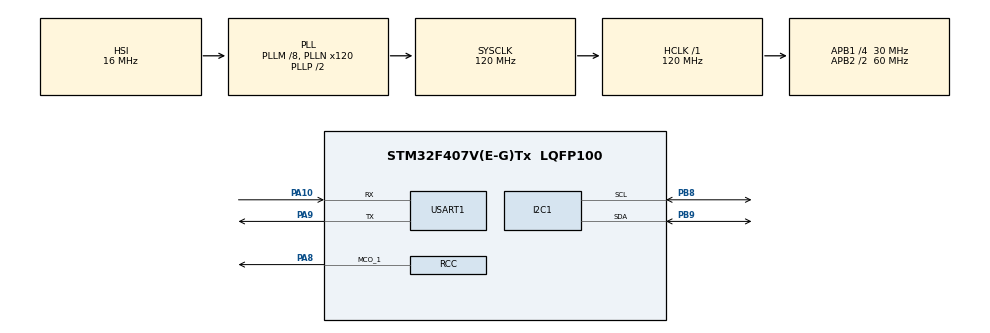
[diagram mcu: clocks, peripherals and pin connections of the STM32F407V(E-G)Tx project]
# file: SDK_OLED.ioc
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I2C1.I2C_Mode=I2C_Fast
Mcu.Family=STM32F4
Mcu.Name=STM32F407V(E-G)Tx
Mcu.Package=LQFP100
NVIC.PriorityGroup=NVIC_PRIORITYGROUP_4
PA10.Mode=Asynchronous
PA10.Signal=USART1_RX
PA13.Mode=JTAG_5_pins
PA13.Signal=SYS_JTMS-SWDIO
PA14.Mode=JTAG_5_pins
PA14.Signal=SYS_JTCK-SWCLK
PA15.Mode=JTAG_5_pins
PA15.Signal=SYS_JTDI
PA8.Mode=Clock-out-1
PA8.Signal=RCC_MCO_1
PA9.Mode=Asynchronous
PA9.Signal=USART1_TX
PB3.Mode=JTAG_5_pins
PB3.Signal=SYS_JTDO-SWO
PB4.Mode=JTAG_5_pins
PB4.Signal=SYS_JTRST
PB8.Mode=I2C
PB8.Signal=I2C1_SCL
PB9.Mode=I2C
PB9.Signal=I2C1_SDA
PH0-OSC_IN.Mode=HSE-External-Oscillator
PH0-OSC_IN.Signal=RCC_OSC_IN
PH1-OSC_OUT.Mode=HSE-External-Oscillator
PH1-OSC_OUT.Signal=RCC_OSC_OUT
ProjectManager.HeapSize=0x200
ProjectManager.StackSize=0x400
ProjectManager.TargetToolchain=STM32CubeIDE
RCC.48MHZClocksFreq_Value=60000000
RCC.AHBFreq_Value=120000000
RCC.APB1CLKDivider=RCC_HCLK_DIV4
RCC.APB1Freq_Value=30000000
RCC.APB1TimFreq_Value=60000000
RCC.APB2CLKDivider=RCC_HCLK_DIV2
RCC.APB2Freq_Value=60000000
RCC.APB2TimFreq_Value=120000000
RCC.CortexFreq_Value=120000000
RCC.HCLKFreq_Value=120000000
RCC.HSE_VALUE=25000000
RCC.HSI_VALUE=16000000
RCC.LSE_VALUE=32768
RCC.PLLM=8
RCC.PLLN=120
RCC.SYSCLKFreq_VALUE=120000000
RCC.SYSCLKSource=RCC_SYSCLKSOURCE_PLLCLK
RCC.VCOOutputFreq_Value=240000000
USART1.VirtualMode=VM_ASYNC
board=custom

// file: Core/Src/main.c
/* USER CODE BEGIN Header */
/**
  ******************************************************************************
  * @file           : main.c
  * @brief          : Main program body
  ******************************************************************************
  ** This notice applies to any and all portions of this file
  * that are not between comment pairs USER CODE BEGIN and
  * USER CODE END. Other portions of this file, whether
  * inserted by the user or by software development tools
  * are owned by their respective copyright owners.
  *
  * COPYRIGHT(c) 2019 STMicroelectronics
  *
  * Redistribution and use in source and binary forms, with or without modification,
  * are permitted provided that the following conditions are met:
  *   1. Redistributions of source code must retain the above copyright notice,
  *      this list of conditions and the following disclaimer.
  *   2. Redistributions in binary form must reproduce the above copyright notice,
  *      this list of conditions and the following disclaimer in the documentation
  *      and/or other materials provided with the distribution.
  *   3. Neither the name of STMicroelectronics nor the names of its contributors
  *      may be used to endorse or promote products derived from this software
  *      without specific prior written permission.
  *
  * THIS SOFTWARE IS PROVIDED BY THE COPYRIGHT HOLDERS AND CONTRIBUTORS "AS IS"
  * AND ANY EXPRESS OR IMPLIED WARRANTIES, INCLUDING, BUT NOT LIMITED TO, THE
  * IMPLIED WARRANTIES OF MERCHANTABILITY AND FITNESS FOR A PARTICULAR PURPOSE ARE
  * DISCLAIMED. IN NO EVENT SHALL THE COPYRIGHT HOLDER OR CONTRIBUTORS BE LIABLE
  * FOR ANY DIRECT, INDIRECT, INCIDENTAL, SPECIAL, EXEMPLARY, OR CONSEQUENTIAL
  * DAMAGES (INCLUDING, BUT NOT LIMITED TO, PROCUREMENT OF SUBSTITUTE GOODS OR
  * SERVICES; LOSS OF USE, DATA, OR PROFITS; OR BUSINESS INTERRUPTION) HOWEVER
  * CAUSED AND ON ANY THEORY OF LIABILITY, WHETHER IN CONTRACT, STRICT LIABILITY,
  * OR TORT (INCLUDING NEGLIGENCE OR OTHERWISE) ARISING IN ANY WAY OUT OF THE USE
  * OF THIS SOFTWARE, EVEN IF ADVISED OF THE POSSIBILITY OF SUCH DAMAGE.
  *
  ******************************************************************************
  */
/* USER CODE END Header */

#include "main.h"
#include "i2c.h"
#include "usart.h"
#include "gpio.h"
#include "oled.h"
#include "fonts.h"

void SystemClock_Config(void);

/* USER CODE BEGIN 0 */
typedef enum{
	INPUT_PORT = 0x00,
	OUTPUT_PORT = 0x01,
	POLARITY_INVERSION = 0x02,
	CONFIG = 0x03
	}pca9538_regs_t;

#define KB_ADDR 0xE2

	char scan_row(int row) {
			char char_buff = 0;
			HAL_StatusTypeDef status = HAL_I2C_Mem_Write(&hi2c1,KB_ADDR & 0xFFFE, OUTPUT_PORT, 1, &char_buff, 1,100);

			if (status != HAL_OK)
				return -1;

			HAL_I2C_Mem_Write(&hi2c1,KB_ADDR, CONFIG, 1,&row, 1, 100);

			char col_buff = 0;

			status = HAL_I2C_Mem_Read(&hi2c1, KB_ADDR | 1, INPUT_PORT, 1,&col_buff, 1,100);

			if (status != HAL_OK)
				return -1;

return col_buff;
}
/* USER CODE END 0 */

int main(void)
{
  /* USER CODE BEGIN 1 */

	long start = 0;
	char buf[20] = "";
	int stop = 0;
	long delay_from_pause = 0;
	long prevent_from_drebezg = 0;
	long prevent_from_drebezg_stop = 0;
	long prevent_delay=500;
  /* USER CODE END 1 */

  /* MCU Configuration--------------------------------------------------------*/

  /* Reset of all peripherals, Initializes the Flash interface and the Systick. */
  HAL_Init();

  /* Configure the system clock */
  SystemClock_Config();

  /* Initialize all configured peripherals */
  MX_GPIO_Init();
  MX_I2C1_Init();
  MX_USART1_UART_Init();
  /* USER CODE BEGIN 2 */
  oled_Init();
  start = HAL_GetTick();
  /* USER CODE END 2 */

  /* Infinite loop */
  while (1)
  {

	  long checktime  = HAL_GetTick();
	  if (prevent_from_drebezg && checktime-prevent_from_drebezg>prevent_delay)
			  prevent_from_drebezg = 0;
	  if (prevent_from_drebezg_stop && checktime-prevent_from_drebezg_stop>prevent_delay)
	  			  prevent_from_drebezg_stop = 0;

	if (!stop){
	  buf[0] = '\0';
	  long i = HAL_GetTick();
	  long time = i-start - delay_from_pause;
	  sprintf(buf,"%d:%d:%d.%d", time/3600000,(time/60000)%60,(time/1000)%60,(time/100)%10);
	  oled_Fill(Black);
	  oled_SetCursor(0,0);
	  oled_WriteString(buf,Font_11x18,White);
	  oled_UpdateScreen();
	 }
	int col = scan_row(0xFF ^ (1 << 0)) >> 4; // get only columns
		if (((col >> 0) & 1) == 0 &&!prevent_from_drebezg) {
				start = HAL_GetTick();
				delay_from_pause = 0;
				buf[0] = '\0';
				sprintf(buf,"0:0:0.0");
				 oled_Fill(Black);
				oled_SetCursor(0,0);
				oled_WriteString(buf,Font_11x18,White);
				oled_UpdateScreen();
				prevent_from_drebezg = HAL_GetTick();
  }

	if (((col >> 1) & 1) == 0 &&!prevent_from_drebezg_stop) {
		if (!stop) {
			stop = 1;
			delay_from_pause = delay_from_pause - HAL_GetTick();
		} else {
			stop = 0;
			if (delay_from_pause)
				delay_from_pause = delay_from_pause + HAL_GetTick();
		}
		prevent_from_drebezg_stop = HAL_GetTick();
	}

  }
}

void SystemClock_Config(void)
{
  RCC_OscInitTypeDef RCC_OscInitStruct = {0};
  RCC_ClkInitTypeDef RCC_ClkInitStruct = {0};

  /**Configure the main internal regulator output voltage
  */
  __HAL_RCC_PWR_CLK_ENABLE();
  __HAL_PWR_VOLTAGESCALING_CONFIG(PWR_REGULATOR_VOLTAGE_SCALE1);
  /**Initializes the CPU, AHB and APB busses clocks
  */
  RCC_OscInitStruct.OscillatorType = RCC_OSCILLATORTYPE_HSI;
  RCC_OscInitStruct.HSIState = RCC_HSI_ON;
  RCC_OscInitStruct.HSICalibrationValue = RCC_HSICALIBRATION_DEFAULT;
  RCC_OscInitStruct.PLL.PLLState = RCC_PLL_ON;
  RCC_OscInitStruct.PLL.PLLSource = RCC_PLLSOURCE_HSI;
  RCC_OscInitStruct.PLL.PLLM = 8;
  RCC_OscInitStruct.PLL.PLLN = 120;
  RCC_OscInitStruct.PLL.PLLP = RCC_PLLP_DIV2;
  RCC_OscInitStruct.PLL.PLLQ = 4;
  if (HAL_RCC_OscConfig(&RCC_OscInitStruct) != HAL_OK)
  {
    Error_Handler();
  }
  /**Initializes the CPU, AHB and APB busses clocks
  */
  RCC_ClkInitStruct.ClockType = RCC_CLOCKTYPE_HCLK|RCC_CLOCKTYPE_SYSCLK
                              |RCC_CLOCKTYPE_PCLK1|RCC_CLOCKTYPE_PCLK2;
  RCC_ClkInitStruct.SYSCLKSource = RCC_SYSCLKSOURCE_PLLCLK;
  RCC_ClkInitStruct.AHBCLKDivider = RCC_SYSCLK_DIV1;
  RCC_ClkInitStruct.APB1CLKDivider = RCC_HCLK_DIV4;
  RCC_ClkInitStruct.APB2CLKDivider = RCC_HCLK_DIV2;

  if (HAL_RCC_ClockConfig(&RCC_ClkInitStruct, FLASH_LATENCY_3) != HAL_OK)
  {
    Error_Handler();
  }
  HAL_RCC_MCOConfig(RCC_MCO1, RCC_MCO1SOURCE_HSI, RCC_MCODIV_1);
}

void Error_Handler(void)
{
}

/************************ (C) COPYRIGHT STMicroelectronics *****END OF FILE****/
